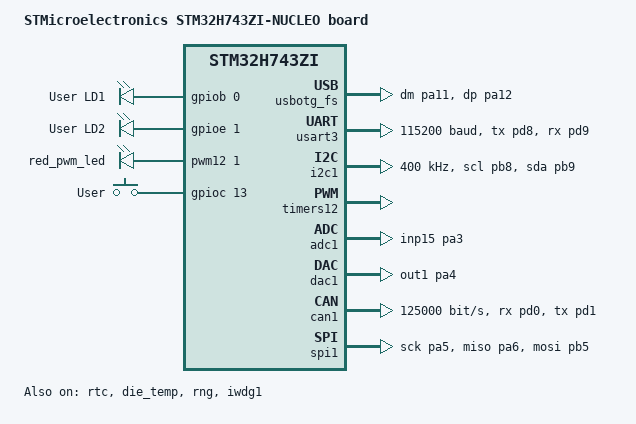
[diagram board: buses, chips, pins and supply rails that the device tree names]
/*
 * Copyright (c) 2020 Teslabs Engineering S.L.
 *
 * SPDX-License-Identifier: Apache-2.0
 */

/dts-v1/;
#include <st/h7/stm32h743Xi.dtsi>
#include <st/h7/stm32h7b3vihx-pinctrl.dtsi>
#include "arduino_r3_connector.dtsi"

/ {
	model = "STMicroelectronics STM32H743ZI-NUCLEO board";
	compatible = "st,stm32h743zi-nucleo";

	chosen {
		zephyr,console = &usart3;
		zephyr,shell-uart = &usart3;
		zephyr,sram = &sram0;
		zephyr,flash = &flash0;
		zephyr,dtcm = &dtcm;
		zephyr,code-partition = &slot0_partition;
		zephyr,canbus = &can1;
	};

	leds {
		compatible = "gpio-leds";
		green_led: led_0 {
			gpios = <&gpiob 0 GPIO_ACTIVE_HIGH>;
			label = "User LD1";
		};
		yellow_led: led_1 {
			gpios = <&gpioe 1 GPIO_ACTIVE_HIGH>;
			label = "User LD2";
		};
	};

	pwmleds {
		compatible = "pwm-leds";

		red_pwm_led: red_pwm_led {
			pwms = <&pwm12 1 PWM_MSEC(20) PWM_POLARITY_NORMAL>;
		};
	};

	gpio_keys {
		compatible = "gpio-keys";
		user_button: button_0 {
			label = "User";
			gpios = <&gpioc 13 GPIO_ACTIVE_HIGH>;
		};
	};

	aliases {
		led0 = &green_led;
		led1 = &yellow_led;
		pwm-led0 = &red_pwm_led;
		sw0 = &user_button;
		watchdog0 = &iwdg;
	};
};

zephyr_udc0: &usbotg_fs {
	pinctrl-0 = <&usb_otg_hs_dm_pa11 &usb_otg_hs_dp_pa12>;
	pinctrl-names = "default";
	status = "okay";
};

&clk_lsi {
	status = "okay";
};

&clk_hsi48 {
	status = "okay";
};

&clk_hse {
	hse-bypass;
	clock-frequency = <DT_FREQ_M(8)>; /* STLink 8MHz clock */
	status = "disabled";
};

&clk_hsi {
    clock-frequency = <DT_FREQ_M(64)>;
    hsi-div = <1>;
    status = "okay";
};

&pll {
	div-m = <4>;
	mul-n = <12>;
	div-p = <1>;
	div-q = <4>;
	div-r = <2>;
	clocks = <&clk_hsi>;
	status = "okay";
};

&rcc {
	clocks = <&pll>;
	clock-frequency = <DT_FREQ_M(192)>;
	d1cpre = <1>;
	hpre = <2>;
	d1ppre = <2>;
	d2ppre1 = <2>;
	d2ppre2 = <2>;
	d3ppre = <2>;
};

&usart3 {
	pinctrl-0 = <&usart3_tx_pd8 &usart3_rx_pd9>;
	pinctrl-names = "default";
	current-speed = <115200>;
	status = "okay";
};

&rtc {
	clocks = <&rcc STM32_CLOCK_BUS_APB4 0x00010000>,
		 <&rcc STM32_SRC_LSI RTC_SEL(2)>;
	status = "okay";
};

&i2c1 {
	pinctrl-0 = <&i2c1_scl_pb8 &i2c1_sda_pb9>;
	pinctrl-names = "default";
	status = "okay";
	clock-frequency = <I2C_BITRATE_FAST>;
};

&timers12 {
	st,prescaler = <10000>;
	status = "okay";

	pwm12: pwm {
		status = "okay";
		pinctrl-0 = <&tim12_ch1_pb14>;
		pinctrl-names = "default";
	};
};

&adc1 {
	pinctrl-0 = <&adc1_inp15_pa3>;
	pinctrl-names = "default";
	status = "okay";
};

&die_temp {
	status = "okay";
};


&dac1 {
	status = "okay";
	pinctrl-0 = <&dac1_out1_pa4>;
	pinctrl-names = "default";
};

&rng {
	status = "okay";
};

&can1 {
	pinctrl-0 = <&fdcan1_rx_pd0 &fdcan1_tx_pd1>;
	pinctrl-names = "default";
	bus-speed = <125000>;
	bus-speed-data = <1000000>;
	status = "okay";
};


&spi1 {
	status = "okay";
	pinctrl-0 = <&spi1_sck_pa5 &spi1_miso_pa6 &spi1_mosi_pb5>;
	pinctrl-names = "default";
	cs-gpios = <&gpiod 14 (GPIO_ACTIVE_LOW | GPIO_PULL_UP)>;
};

&backup_sram {
	status = "okay";
};

&flash0 {
	partitions {
		compatible = "fixed-partitions";
		#address-cells = <1>;
		#size-cells = <1>;

		/* 128KB for bootloader */
		boot_partition: partition@0 {
			label = "mcuboot";
			reg = <0x00000000 DT_SIZE_K(128)>;
			read-only;
		};

		/* storage: 128KB for settings */
		storage_partition: partition@20000 {
			label = "storage";
			reg = <0x00020000 DT_SIZE_K(128)>;
		};

		/* application image slot: 256KB */
		slot0_partition: partition@40000 {
			label = "image-0";
			reg = <0x00040000 DT_SIZE_K(256)>;
		};

		/* backup slot: 256KB */
		slot1_partition: partition@80000 {
			label = "image-1";
			reg = <0x00080000 DT_SIZE_K(256)>;
		};

		/* swap slot: 128KB */
		scratch_partition: partition@c0000 {
			label = "image-scratch";
			reg = <0x000c0000 DT_SIZE_K(128)>;
		};

	};
};

&iwdg1 {
	status = "okay";
};
